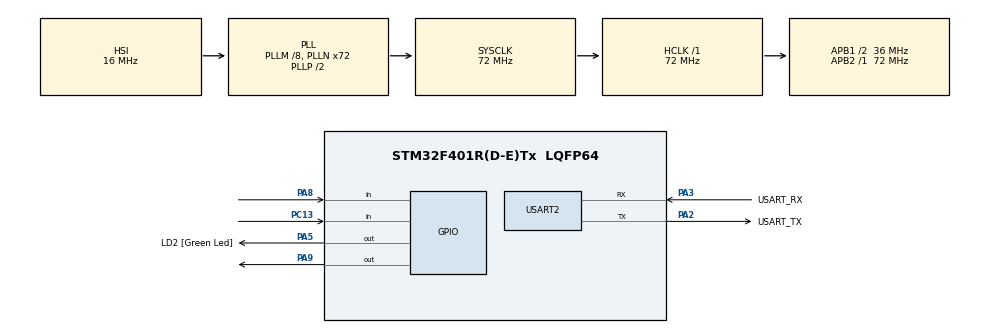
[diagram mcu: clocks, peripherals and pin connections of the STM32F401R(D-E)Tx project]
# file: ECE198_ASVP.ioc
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Mcu.Family=STM32F4
Mcu.Name=STM32F401R(D-E)Tx
Mcu.Package=LQFP64
NVIC.PriorityGroup=NVIC_PRIORITYGROUP_0
PA13.GPIO_Label=TMS
PA13.Mode=Serial_Wire
PA13.Signal=SYS_JTMS-SWDIO
PA14.GPIO_Label=TCK
PA14.Mode=Serial_Wire
PA14.Signal=SYS_JTCK-SWCLK
PA2.GPIO_Label=USART_TX
PA2.GPIO_Mode=GPIO_MODE_AF_PP
PA2.GPIO_PuPd=GPIO_NOPULL
PA2.GPIO_Speed=GPIO_SPEED_FREQ_LOW
PA2.Mode=Asynchronous
PA2.Signal=USART2_TX
PA3.GPIO_Label=USART_RX
PA3.GPIO_Mode=GPIO_MODE_AF_PP
PA3.GPIO_PuPd=GPIO_NOPULL
PA3.GPIO_Speed=GPIO_SPEED_FREQ_LOW
PA3.Mode=Asynchronous
PA3.Signal=USART2_RX
PA5.GPIO_Label=LD2 [Green Led]
PA5.GPIO_Mode=GPIO_MODE_OUTPUT_PP
PA5.GPIO_PuPd=GPIO_NOPULL
PA5.GPIO_Speed=GPIO_SPEED_FREQ_LOW
PA5.Signal=GPIO_Output
PA8.Signal=GPIO_Input
PA9.Signal=GPIO_Output
PB3.GPIO_Label=SWO
PB3.Signal=SYS_JTDO-SWO
PC13-ANTI_TAMP.Signal=GPIO_Input
PC14-OSC32_IN.Mode=LSE-External-Oscillator
PC14-OSC32_IN.Signal=RCC_OSC32_IN
PC15-OSC32_OUT.Mode=LSE-External-Oscillator
PC15-OSC32_OUT.Signal=RCC_OSC32_OUT
PH0\ -\ OSC_IN.Mode=HSE-External-Oscillator
PH0\ -\ OSC_IN.Signal=RCC_OSC_IN
PH1\ -\ OSC_OUT.Mode=HSE-External-Oscillator
PH1\ -\ OSC_OUT.Signal=RCC_OSC_OUT
ProjectManager.HeapSize=0x200
ProjectManager.StackSize=0x400
ProjectManager.TargetToolchain=STM32CubeIDE
RCC.48MHZClocksFreq_Value=20571428.57142857
RCC.AHBFreq_Value=72000000
RCC.APB1CLKDivider=RCC_HCLK_DIV2
RCC.APB1Freq_Value=36000000
RCC.APB1TimFreq_Value=72000000
RCC.APB2Freq_Value=72000000
RCC.APB2TimFreq_Value=72000000
RCC.CortexFreq_Value=72000000
RCC.HCLKFreq_Value=72000000
RCC.HSE_VALUE=8000000
RCC.HSI_VALUE=16000000
RCC.PLLM=8
RCC.PLLN=72
RCC.PLLQ=7
RCC.SYSCLKFreq_VALUE=72000000
RCC.SYSCLKSource=RCC_SYSCLKSOURCE_PLLCLK
RCC.VCOOutputFreq_Value=144000000
TIM1.Prescaler=71
USART2.VirtualMode=VM_ASYNC
VP_TIM1_VS_ClockSourceINT.Mode=Internal
board=NUCLEO-F401RE

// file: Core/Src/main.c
/* USER CODE BEGIN Header */
/**
  ******************************************************************************
  * @file           : main.c
  * @brief          : Main program body
  ******************************************************************************
  * @attention
  *
  * Copyright (c) 2022 STMicroelectronics.
  * All rights reserved.
  *
  * This software is licensed under terms that can be found in the LICENSE file
  * in the root directory of this software component.
  * If no LICENSE file comes with this software, it is provided AS-IS.
  *
  ******************************************************************************
  */
/* USER CODE END Header */
#include "main.h"

TIM_HandleTypeDef htim1;

UART_HandleTypeDef huart2;

/* USER CODE BEGIN PV */
#define TRIG_PIN GPIO_PIN_9
#define TRIG_PORT GPIOA
#define ECHO_PIN GPIO_PIN_8
#define ECHO_PORT GPIOA
uint32_t pMillis;
uint32_t Value1 = 0;
uint32_t Value2 = 0;
uint16_t Distance  = 0;  // cm
uint16_t const MAX_DISTANCE = 50; //cm
uint16_t state = 0;
uint16_t const STOPPED = 0;
uint16_t const MOVING = 1;
uint16_t const TURNING = 2;
/* USER CODE END PV */

void SystemClock_Config(void);
static void MX_GPIO_Init(void);
static void MX_USART2_UART_Init(void);
static void MX_TIM1_Init(void);

int main(void)
{

  /* MCU Configuration--------------------------------------------------------*/

  /* Reset of all peripherals, Initializes the Flash interface and the Systick. */
  HAL_Init();

  /* Configure the system clock */
  SystemClock_Config();

  /* Initialize all configured peripherals */
  MX_GPIO_Init();
  MX_USART2_UART_Init();
  MX_TIM1_Init();
  /* USER CODE BEGIN 2 */
  HAL_TIM_Base_Start(&htim1);
  HAL_GPIO_WritePin(TRIG_PORT, TRIG_PIN, GPIO_PIN_RESET);  // pull the TRIG pin low
  /* USER CODE END 2 */

  /* Infinite loop */
  /* USER CODE BEGIN WHILE */
  while (1)
  {
	  HAL_GPIO_WritePin(TRIG_PORT, TRIG_PIN, GPIO_PIN_SET);  // pull the TRIG pin HIGH
	  __HAL_TIM_SET_COUNTER(&htim1, 0);
	  while (__HAL_TIM_GET_COUNTER (&htim1) < 10);  // wait for 10 us
	  HAL_GPIO_WritePin(TRIG_PORT, TRIG_PIN, GPIO_PIN_RESET);  // pull the TRIG pin low

	  pMillis = HAL_GetTick(); // used this to avoid infinite while loop  (for timeout)
	  // wait for the echo pin to go high
	  while (!(HAL_GPIO_ReadPin (ECHO_PORT, ECHO_PIN)) && pMillis + 10 >  HAL_GetTick());
	  Value1 = __HAL_TIM_GET_COUNTER (&htim1);

	  pMillis = HAL_GetTick(); // used this to avoid infinite while loop (for timeout)
	  // wait for the echo pin to go low
	  while ((HAL_GPIO_ReadPin (ECHO_PORT, ECHO_PIN)) && pMillis + 50 > HAL_GetTick());
	  Value2 = __HAL_TIM_GET_COUNTER (&htim1);

	  Distance = (Value2-Value1)* 0.034/2;

	  if(Distance <= MAX_DISTANCE)
	  {
		  //changes the state to stopped
		  state = STOPPED;
	  }

	  //executes the appropriate functions based on what state the vehicle is in
	  if(state == STOPPED)
	  {
		  //checks if the user button is pressed and starts the vehicle if it is pressed
		  if(HAL_GPIO_ReadPin(GPIOC, GPIO_Pin_13) != GPIO_PIN_RESET)
		  {
		  	//waits 10 seconds before starting the vehicle
		  	HAL_Delay(10000);

		  	//start moving
		  	state = MOVING;
		  }

	  }
	  else if(state == MOVING)
	  {

	  }
	  else if(state == TURNING)
	  {

	  }

	  HAL_Delay(50);

    /* USER CODE END WHILE */

  }
}

void SystemClock_Config(void)
{
  RCC_OscInitTypeDef RCC_OscInitStruct = {0};
  RCC_ClkInitTypeDef RCC_ClkInitStruct = {0};

  /** Configure the main internal regulator output voltage
  */
  __HAL_RCC_PWR_CLK_ENABLE();
  __HAL_PWR_VOLTAGESCALING_CONFIG(PWR_REGULATOR_VOLTAGE_SCALE2);

  /** Initializes the RCC Oscillators according to the specified parameters
  * in the RCC_OscInitTypeDef structure.
  */
  RCC_OscInitStruct.OscillatorType = RCC_OSCILLATORTYPE_HSI;
  RCC_OscInitStruct.HSIState = RCC_HSI_ON;
  RCC_OscInitStruct.HSICalibrationValue = RCC_HSICALIBRATION_DEFAULT;
  RCC_OscInitStruct.PLL.PLLState = RCC_PLL_ON;
  RCC_OscInitStruct.PLL.PLLSource = RCC_PLLSOURCE_HSI;
  RCC_OscInitStruct.PLL.PLLM = 8;
  RCC_OscInitStruct.PLL.PLLN = 72;
  RCC_OscInitStruct.PLL.PLLP = RCC_PLLP_DIV2;
  RCC_OscInitStruct.PLL.PLLQ = 7;
  if (HAL_RCC_OscConfig(&RCC_OscInitStruct) != HAL_OK)
  {
    Error_Handler();
  }

  /** Initializes the CPU, AHB and APB buses clocks
  */
  RCC_ClkInitStruct.ClockType = RCC_CLOCKTYPE_HCLK|RCC_CLOCKTYPE_SYSCLK
                              |RCC_CLOCKTYPE_PCLK1|RCC_CLOCKTYPE_PCLK2;
  RCC_ClkInitStruct.SYSCLKSource = RCC_SYSCLKSOURCE_PLLCLK;
  RCC_ClkInitStruct.AHBCLKDivider = RCC_SYSCLK_DIV1;
  RCC_ClkInitStruct.APB1CLKDivider = RCC_HCLK_DIV2;
  RCC_ClkInitStruct.APB2CLKDivider = RCC_HCLK_DIV1;

  if (HAL_RCC_ClockConfig(&RCC_ClkInitStruct, FLASH_LATENCY_2) != HAL_OK)
  {
    Error_Handler();
  }
}

static void MX_TIM1_Init(void)
{

  TIM_ClockConfigTypeDef sClockSourceConfig = {0};
  TIM_MasterConfigTypeDef sMasterConfig = {0};

  htim1.Instance = TIM1;
  htim1.Init.Prescaler = 71;
  htim1.Init.CounterMode = TIM_COUNTERMODE_UP;
  htim1.Init.Period = 65535;
  htim1.Init.ClockDivision = TIM_CLOCKDIVISION_DIV1;
  htim1.Init.RepetitionCounter = 0;
  htim1.Init.AutoReloadPreload = TIM_AUTORELOAD_PRELOAD_DISABLE;
  if (HAL_TIM_Base_Init(&htim1) != HAL_OK)
  {
    Error_Handler();
  }
  sClockSourceConfig.ClockSource = TIM_CLOCKSOURCE_INTERNAL;
  if (HAL_TIM_ConfigClockSource(&htim1, &sClockSourceConfig) != HAL_OK)
  {
    Error_Handler();
  }
  sMasterConfig.MasterOutputTrigger = TIM_TRGO_RESET;
  sMasterConfig.MasterSlaveMode = TIM_MASTERSLAVEMODE_DISABLE;
  if (HAL_TIMEx_MasterConfigSynchronization(&htim1, &sMasterConfig) != HAL_OK)
  {
    Error_Handler();
  }

}

static void MX_USART2_UART_Init(void)
{

  huart2.Instance = USART2;
  huart2.Init.BaudRate = 115200;
  huart2.Init.WordLength = UART_WORDLENGTH_8B;
  huart2.Init.StopBits = UART_STOPBITS_1;
  huart2.Init.Parity = UART_PARITY_NONE;
  huart2.Init.Mode = UART_MODE_TX_RX;
  huart2.Init.HwFlowCtl = UART_HWCONTROL_NONE;
  huart2.Init.OverSampling = UART_OVERSAMPLING_16;
  if (HAL_UART_Init(&huart2) != HAL_OK)
  {
    Error_Handler();
  }

}

static void MX_GPIO_Init(void)
{
  GPIO_InitTypeDef GPIO_InitStruct = {0};

  /* GPIO Ports Clock Enable */
  __HAL_RCC_GPIOC_CLK_ENABLE();
  __HAL_RCC_GPIOH_CLK_ENABLE();
  __HAL_RCC_GPIOA_CLK_ENABLE();
  __HAL_RCC_GPIOB_CLK_ENABLE();

  /*Configure GPIO pin Output Level */
  HAL_GPIO_WritePin(GPIOA, LD2_Pin|GPIO_PIN_9, GPIO_PIN_RESET);

  /*Configure GPIO pin : PC13 */
  GPIO_InitStruct.Pin = GPIO_PIN_13;
  GPIO_InitStruct.Mode = GPIO_MODE_INPUT;
  GPIO_InitStruct.Pull = GPIO_NOPULL;
  HAL_GPIO_Init(GPIOC, &GPIO_InitStruct);

  /*Configure GPIO pins : LD2_Pin PA9 */
  GPIO_InitStruct.Pin = LD2_Pin|GPIO_PIN_9;
  GPIO_InitStruct.Mode = GPIO_MODE_OUTPUT_PP;
  GPIO_InitStruct.Pull = GPIO_NOPULL;
  GPIO_InitStruct.Speed = GPIO_SPEED_FREQ_LOW;
  HAL_GPIO_Init(GPIOA, &GPIO_InitStruct);

  /*Configure GPIO pin : PA8 */
  GPIO_InitStruct.Pin = GPIO_PIN_8;
  GPIO_InitStruct.Mode = GPIO_MODE_INPUT;
  GPIO_InitStruct.Pull = GPIO_NOPULL;
  HAL_GPIO_Init(GPIOA, &GPIO_InitStruct);

}

void Error_Handler(void)
{
  __disable_irq();
  while (1)
  {
  }
}
